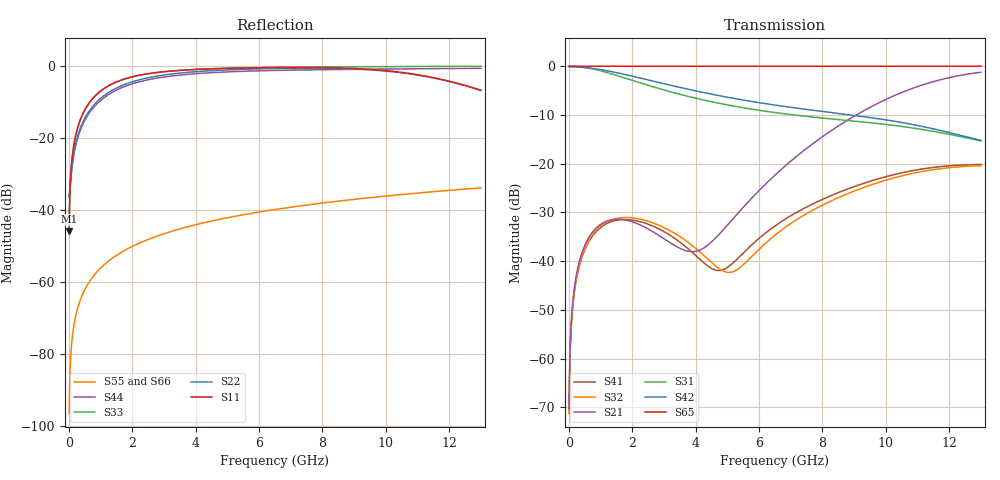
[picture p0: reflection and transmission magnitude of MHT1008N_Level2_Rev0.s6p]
! freq	mag(S11)	phase(S11)	mag(S12)	phase(S12)	mag(S13)	phase(S13)
!  mag(S14)	phase(S14)	mag(S15)	phase(S15)	mag(S16)	phase(S16)
!  mag(S21)	phase(S21)	mag(S22)	phase(S22)	mag(S23)	phase(S23)
!  mag(S24)	phase(S24)	mag(S25)	phase(S25)	mag(S26)	phase(S26)
!  mag(S31)	phase(S31)	mag(S32)	phase(S32)	mag(S33)	phase(S33)
!  mag(S34)	phase(S34)	mag(S35)	phase(S35)	mag(S36)	phase(S36)
!  mag(S41)	phase(S41)	mag(S42)	phase(S42)	mag(S43)	phase(S43)
!  mag(S44)	phase(S44)	mag(S45)	phase(S45)	mag(S46)	phase(S46)
!  mag(S51)	phase(S51)	mag(S52)	phase(S52)	mag(S53)	phase(S53)
!  mag(S54)	phase(S54)	mag(S55)	phase(S55)	mag(S56)	phase(S56)
!  mag(S61)	phase(S61)	mag(S62)	phase(S62)	mag(S63)	phase(S63)
!  mag(S64)	phase(S64)	mag(S65)	phase(S65)	mag(S66)	phase(S66)
!MHT1008N Package S-parameters
#  MHz  S  MA  R 50
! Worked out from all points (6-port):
!   1300 points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, 10 MHz to 13 GHz, reference 50 ohm
!   strongest paths, dB at 10 MHz, 3.26 GHz, 6.51 GHz, 9.76 GHz, 13 GHz:
!     S65: 0.0, 0.0, 0.0, 0.0, 0.0
!     S42: -0.1, -4.0, -8.0, -10.8, -15.2
!     S31: 0.0, -5.3, -9.5, -11.8, -15.3
!     S21: -70.3, -36.5, -22.3, -7.6, -1.2
!     S32: -71.0, -34.0, -34.6, -23.9, -20.4
!     S41: -71.2, -35.0, -32.8, -23.1, -20.2
!   lowest |S11| = -45.9 dB at 10 MHz (marker M1), VSWR 1.01, Z = 49.9 - j0.492 ohm
!   |S11| at or under -10 dB: start of sweep to 677 MHz
